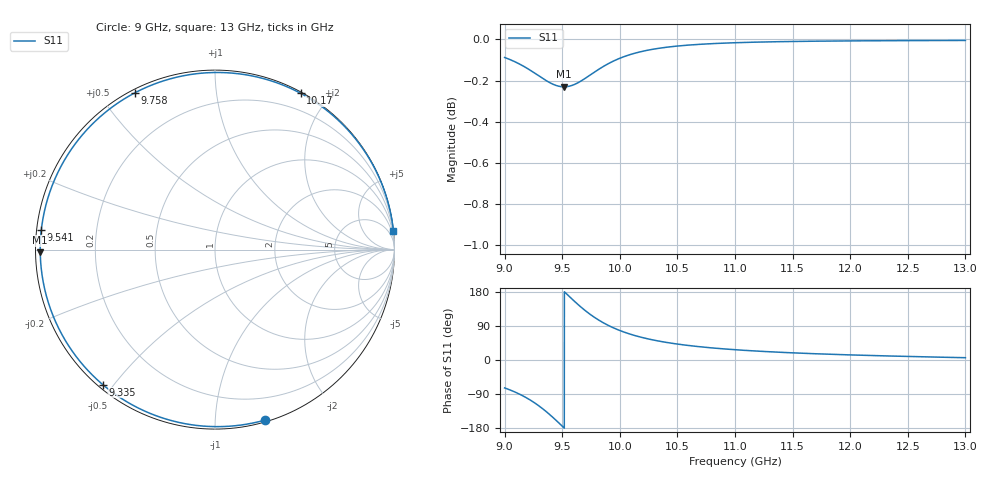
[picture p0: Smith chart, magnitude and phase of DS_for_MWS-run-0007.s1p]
! TOUCHSTONE file generated by CST DESIGN STUDIO
! Date and time: Tue Feb  4 14:24:13 2025
! Project name: C:\Work\MatlabApps\UnitCellOptimizationMatlab\CST\unitcell.cst
! Tree item: Tasks\Sweep1\SPara1\S-Parameters
! Header version: 2024
! Port assignment regex: !\s*Touchstone port\s*([0-9]+)\s*=\s*(CST MWS port|CST DES external port|CST DES block port)\s*(.+)\s* \(\"(.*)\"\)(\s*mode\s*([0-9]+))?.*
! Touchstone port assignment:
! Touchstone port 1 = CST DES external port 1 ("")
# GHz S MA R 50
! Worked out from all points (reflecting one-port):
!   4001 points, 9 GHz to 13 GHz, reference 50 ohm
!   lowest |S11| = -0.2 dB at 9.516 GHz (marker M1), VSWR 75.31, Z = 0.664 - j0.374 ohm
!   phase of S11 starts at -74 deg and turns -280 deg over the sweep
!   S11 on the Smith chart (normalised r, x): 9 GHz: 0.01, -1.34; 9.335 GHz: 0.01, -0.47; 9.541 GHz: 0.01, +0.06; 9.758 GHz: 0.01, +0.61; 10.17 GHz: 0.01, +1.69; 13 GHz: 0, +19
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9  0.9899 -73.6
9.091  0.9875 -84.6
9.195  0.984 -100.7
9.268  0.981 -114.7
9.335  0.9782 -129.7
9.38  0.9765 -141.0
9.426  0.975 -153.3
9.464  0.9742 -164.1
9.5  0.9738 -174.5
9.516  0.9738 -179.1
9.541  0.9739 173.6
9.595  0.9748 158.0
9.655  0.9767 141.7
9.706  0.9787 128.9
9.758  0.9809 117.1
9.809  0.9831 106.8
9.864  0.9852 97.0
10  0.9895 77.8
10.081  0.9914 69.1
10.169  0.9929 61.3
10.32  0.9948 51.0
10.5  0.9963 42.0
10.722  0.9973 34.1
11  0.9981 27.1
11.5  0.9988 18.9
12  0.9992 13.4
12.5  0.9993 9.4
13  0.9994 6.1
